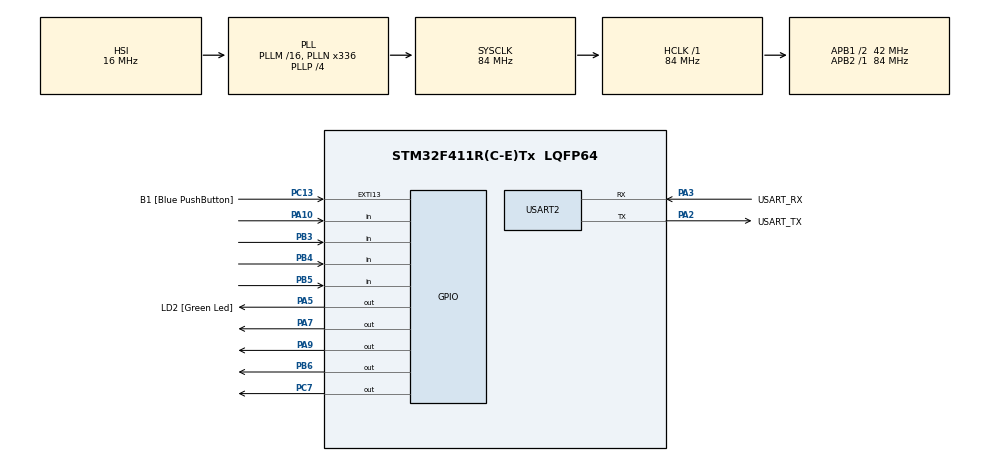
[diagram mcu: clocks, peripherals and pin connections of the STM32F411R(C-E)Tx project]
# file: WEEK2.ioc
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Mcu.Family=STM32F4
Mcu.Name=STM32F411R(C-E)Tx
Mcu.Package=LQFP64
NVIC.PriorityGroup=NVIC_PRIORITYGROUP_0
PA10.GPIO_PuPd=GPIO_PULLUP
PA10.Signal=GPIO_Input
PA13.GPIO_Label=TMS
PA13.Mode=Serial_Wire
PA13.Signal=SYS_JTMS-SWDIO
PA14.GPIO_Label=TCK
PA14.Mode=Serial_Wire
PA14.Signal=SYS_JTCK-SWCLK
PA2.GPIO_Label=USART_TX
PA2.Mode=Asynchronous
PA2.Signal=USART2_TX
PA3.GPIO_Label=USART_RX
PA3.Mode=Asynchronous
PA3.Signal=USART2_RX
PA5.GPIO_Label=LD2 [Green Led]
PA5.PinState=GPIO_PIN_RESET
PA5.Signal=GPIO_Output
PA7.GPIO_ModeDefaultOutputPP=GPIO_MODE_OUTPUT_OD
PA7.GPIO_Speed=GPIO_SPEED_FREQ_LOW
PA7.PinState=GPIO_PIN_SET
PA7.Signal=GPIO_Output
PA9.GPIO_ModeDefaultOutputPP=GPIO_MODE_OUTPUT_OD
PA9.GPIO_Speed=GPIO_SPEED_FREQ_LOW
PA9.PinState=GPIO_PIN_SET
PA9.Signal=GPIO_Output
PB3.GPIO_PuPd=GPIO_PULLUP
PB3.Signal=GPIO_Input
PB4.GPIO_PuPd=GPIO_PULLUP
PB4.Signal=GPIO_Input
PB5.GPIO_PuPd=GPIO_PULLUP
PB5.Signal=GPIO_Input
PB6.GPIO_ModeDefaultOutputPP=GPIO_MODE_OUTPUT_OD
PB6.GPIO_Speed=GPIO_SPEED_FREQ_LOW
PB6.PinState=GPIO_PIN_SET
PB6.Signal=GPIO_Output
PC13-ANTI_TAMP.GPIO_Label=B1 [Blue PushButton]
PC13-ANTI_TAMP.GPIO_ModeDefaultEXTI=GPIO_MODE_IT_FALLING
PC13-ANTI_TAMP.Signal=GPXTI13
PC14-OSC32_IN.Mode=LSE-External-Oscillator
PC14-OSC32_IN.Signal=RCC_OSC32_IN
PC15-OSC32_OUT.Mode=LSE-External-Oscillator
PC15-OSC32_OUT.Signal=RCC_OSC32_OUT
PC7.GPIO_Speed=GPIO_SPEED_FREQ_LOW
PC7.PinState=GPIO_PIN_SET
PC7.Signal=GPIO_Output
PH0\ -\ OSC_IN.Mode=HSE-External-Clock-Source
PH0\ -\ OSC_IN.Signal=RCC_OSC_IN
PH1\ -\ OSC_OUT.Mode=HSE-External-Clock-Source
PH1\ -\ OSC_OUT.Signal=RCC_OSC_OUT
ProjectManager.HeapSize=0x200
ProjectManager.StackSize=0x400
ProjectManager.TargetToolchain=STM32CubeIDE
RCC.48MHZClocksFreq_Value=84000000
RCC.AHBFreq_Value=84000000
RCC.APB1CLKDivider=RCC_HCLK_DIV2
RCC.APB1Freq_Value=42000000
RCC.APB1TimFreq_Value=84000000
RCC.APB2Freq_Value=84000000
RCC.APB2TimFreq_Value=84000000
RCC.CortexFreq_Value=84000000
RCC.FLatency-AdvancedSettings=FLASH_LATENCY_2
RCC.HCLKFreq_Value=84000000
RCC.HSE_VALUE=8000000
RCC.HSI_VALUE=16000000
RCC.PLLN=336
RCC.PLLP=RCC_PLLP_DIV4
RCC.SYSCLKFreq_VALUE=84000000
RCC.SYSCLKSource=RCC_SYSCLKSOURCE_PLLCLK
RCC.VCOOutputFreq_Value=336000000
USART2.VirtualMode=VM_ASYNC
board=NUCLEO-F411RE

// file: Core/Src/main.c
/* USER CODE BEGIN Header */
/**
 ******************************************************************************
 * @file           : main.c
 * @brief          : Main program body
 ******************************************************************************
 * @attention
 *
 * <h2><center>&copy; Copyright (c) 2021 STMicroelectronics.
 * All rights reserved.</center></h2>
 *
 * This software component is licensed by ST under BSD 3-Clause license,
 * the "License"; You may not use this file except in compliance with the
 * License. You may obtain a copy of the License at:
 *                        opensource.org/licenses/BSD-3-Clause
 *
 ******************************************************************************
 */
/* USER CODE END Header */
#include "main.h"

UART_HandleTypeDef huart2;

/* USER CODE BEGIN PV */
//save status of Button Matrix
uint16_t ThisPassWord[11] = { 0 };
uint16_t ButtonMatrixState = 0;
uint32_t timestamp = 0;
uint32_t timestamp2 = 0;
uint8_t num = 0;
//Button TimeStamp
uint32_t ButtonMatrixTimeStamp = 0;
/* USER CODE END PV */

void SystemClock_Config(void);
static void MX_GPIO_Init(void);
static void MX_USART2_UART_Init(void);
/* USER CODE BEGIN PFP */
//scan and update data of Button Matrix
void ButtonMatrixUpdate();
/* USER CODE END PFP */

int main(void)
{

  /* MCU Configuration--------------------------------------------------------*/

  /* Reset of all peripherals, Initializes the Flash interface and the Systick. */
  HAL_Init();

  /* Configure the system clock */
  SystemClock_Config();

  /* Initialize all configured peripherals */
  MX_GPIO_Init();
  MX_USART2_UART_Init();

  /* Infinite loop */
	while (1) {

    /* USER CODE BEGIN 3 */
		ButtonMatrixUpdate();
		if (num >= 0 && num <= 11) {
			if (HAL_GetTick() - timestamp >= 300) {
				if (ButtonMatrixState == 1) {
					ThisPassWord[num] = 7;
					num = num + 1;
					timestamp = HAL_GetTick();
				} else if (ButtonMatrixState == 2) {
					ThisPassWord[num] = 8;
					num = num + 1;
					timestamp = HAL_GetTick();
				} else if (ButtonMatrixState == 4) {
					ThisPassWord[num] = 9;
					num = num + 1;
					timestamp = HAL_GetTick();
				} else if (ButtonMatrixState == 16) {
					ThisPassWord[num] = 4;
					num = num + 1;
					timestamp = HAL_GetTick();
				} else if (ButtonMatrixState == 32) {
					ThisPassWord[num] = 5;
					num = num + 1;
					timestamp = HAL_GetTick();
				} else if (ButtonMatrixState == 64) {
					ThisPassWord[num] = 6;
					num = num + 1;
					timestamp = HAL_GetTick();
				} else if (ButtonMatrixState == 256) {
					ThisPassWord[num] = 1;
					num = num + 1;
					timestamp = HAL_GetTick();
				} else if (ButtonMatrixState == 512) {
					ThisPassWord[num] = 2;
					num = num + 1;
					timestamp = HAL_GetTick();
				} else if (ButtonMatrixState == 1024) {
					ThisPassWord[num] = 3;
					num = num + 1;
					timestamp = HAL_GetTick();
				} else if (ButtonMatrixState == 4096) {
					ThisPassWord[num] = 0;
					num = num + 1;
					timestamp = HAL_GetTick();
				}else if (ButtonMatrixState == 128 && num>0) {
					ThisPassWord[num-1] = 0;
					num = num - 1;
					timestamp = HAL_GetTick();
				}
			}
		}
		if (HAL_GetTick() - timestamp2 >= 300) {
			if (ButtonMatrixState == 8) {
				int j;
				for (j = 0; j < 11; j++) {
					ThisPassWord[j] = 0;
				}
				num = 0;
				timestamp2 = HAL_GetTick();
				HAL_GPIO_WritePin(GPIOA, GPIO_PIN_5, GPIO_PIN_RESET);
			}

			if (ButtonMatrixState == 32768) {
				if (ThisPassWord[0] == 6 && ThisPassWord[1] == 2
						&& ThisPassWord[2] == 3 && ThisPassWord[3] == 4
						&& ThisPassWord[4] == 0 && ThisPassWord[5] == 5
						&& ThisPassWord[6] == 0 && ThisPassWord[7] == 0
						&& ThisPassWord[8] == 0 && ThisPassWord[9] == 3
						&& ThisPassWord[10] == 0) {

					HAL_GPIO_WritePin(GPIOA, GPIO_PIN_5, GPIO_PIN_SET);
					timestamp2 = HAL_GetTick();
				}
			}
		}
	}
	//function button

  /* USER CODE END 3 */
}

void SystemClock_Config(void)
{
  RCC_OscInitTypeDef RCC_OscInitStruct = {0};
  RCC_ClkInitTypeDef RCC_ClkInitStruct = {0};

  /** Configure the main internal regulator output voltage
  */
  __HAL_RCC_PWR_CLK_ENABLE();
  __HAL_PWR_VOLTAGESCALING_CONFIG(PWR_REGULATOR_VOLTAGE_SCALE1);
  /** Initializes the RCC Oscillators according to the specified parameters
  * in the RCC_OscInitTypeDef structure.
  */
  RCC_OscInitStruct.OscillatorType = RCC_OSCILLATORTYPE_HSI;
  RCC_OscInitStruct.HSIState = RCC_HSI_ON;
  RCC_OscInitStruct.HSICalibrationValue = RCC_HSICALIBRATION_DEFAULT;
  RCC_OscInitStruct.PLL.PLLState = RCC_PLL_ON;
  RCC_OscInitStruct.PLL.PLLSource = RCC_PLLSOURCE_HSI;
  RCC_OscInitStruct.PLL.PLLM = 16;
  RCC_OscInitStruct.PLL.PLLN = 336;
  RCC_OscInitStruct.PLL.PLLP = RCC_PLLP_DIV4;
  RCC_OscInitStruct.PLL.PLLQ = 4;
  if (HAL_RCC_OscConfig(&RCC_OscInitStruct) != HAL_OK)
  {
    Error_Handler();
  }
  /** Initializes the CPU, AHB and APB buses clocks
  */
  RCC_ClkInitStruct.ClockType = RCC_CLOCKTYPE_HCLK|RCC_CLOCKTYPE_SYSCLK
                              |RCC_CLOCKTYPE_PCLK1|RCC_CLOCKTYPE_PCLK2;
  RCC_ClkInitStruct.SYSCLKSource = RCC_SYSCLKSOURCE_PLLCLK;
  RCC_ClkInitStruct.AHBCLKDivider = RCC_SYSCLK_DIV1;
  RCC_ClkInitStruct.APB1CLKDivider = RCC_HCLK_DIV2;
  RCC_ClkInitStruct.APB2CLKDivider = RCC_HCLK_DIV1;

  if (HAL_RCC_ClockConfig(&RCC_ClkInitStruct, FLASH_LATENCY_2) != HAL_OK)
  {
    Error_Handler();
  }
}

static void MX_USART2_UART_Init(void)
{

  huart2.Instance = USART2;
  huart2.Init.BaudRate = 115200;
  huart2.Init.WordLength = UART_WORDLENGTH_8B;
  huart2.Init.StopBits = UART_STOPBITS_1;
  huart2.Init.Parity = UART_PARITY_NONE;
  huart2.Init.Mode = UART_MODE_TX_RX;
  huart2.Init.HwFlowCtl = UART_HWCONTROL_NONE;
  huart2.Init.OverSampling = UART_OVERSAMPLING_16;
  if (HAL_UART_Init(&huart2) != HAL_OK)
  {
    Error_Handler();
  }

}

static void MX_GPIO_Init(void)
{
  GPIO_InitTypeDef GPIO_InitStruct = {0};

  /* GPIO Ports Clock Enable */
  __HAL_RCC_GPIOC_CLK_ENABLE();
  __HAL_RCC_GPIOH_CLK_ENABLE();
  __HAL_RCC_GPIOA_CLK_ENABLE();
  __HAL_RCC_GPIOB_CLK_ENABLE();

  /*Configure GPIO pin Output Level */
  HAL_GPIO_WritePin(LD2_GPIO_Port, LD2_Pin, GPIO_PIN_RESET);

  /*Configure GPIO pin Output Level */
  HAL_GPIO_WritePin(GPIOA, GPIO_PIN_7|GPIO_PIN_9, GPIO_PIN_SET);

  /*Configure GPIO pin Output Level */
  HAL_GPIO_WritePin(GPIOC, GPIO_PIN_7, GPIO_PIN_SET);

  /*Configure GPIO pin Output Level */
  HAL_GPIO_WritePin(GPIOB, GPIO_PIN_6, GPIO_PIN_SET);

  /*Configure GPIO pin : B1_Pin */
  GPIO_InitStruct.Pin = B1_Pin;
  GPIO_InitStruct.Mode = GPIO_MODE_IT_FALLING;
  GPIO_InitStruct.Pull = GPIO_NOPULL;
  HAL_GPIO_Init(B1_GPIO_Port, &GPIO_InitStruct);

  /*Configure GPIO pin : LD2_Pin */
  GPIO_InitStruct.Pin = LD2_Pin;
  GPIO_InitStruct.Mode = GPIO_MODE_OUTPUT_PP;
  GPIO_InitStruct.Pull = GPIO_NOPULL;
  GPIO_InitStruct.Speed = GPIO_SPEED_FREQ_LOW;
  HAL_GPIO_Init(LD2_GPIO_Port, &GPIO_InitStruct);

  /*Configure GPIO pins : PA7 PA9 */
  GPIO_InitStruct.Pin = GPIO_PIN_7|GPIO_PIN_9;
  GPIO_InitStruct.Mode = GPIO_MODE_OUTPUT_OD;
  GPIO_InitStruct.Pull = GPIO_NOPULL;
  GPIO_InitStruct.Speed = GPIO_SPEED_FREQ_LOW;
  HAL_GPIO_Init(GPIOA, &GPIO_InitStruct);

  /*Configure GPIO pin : PC7 */
  GPIO_InitStruct.Pin = GPIO_PIN_7;
  GPIO_InitStruct.Mode = GPIO_MODE_OUTPUT_PP;
  GPIO_InitStruct.Pull = GPIO_NOPULL;
  GPIO_InitStruct.Speed = GPIO_SPEED_FREQ_LOW;
  HAL_GPIO_Init(GPIOC, &GPIO_InitStruct);

  /*Configure GPIO pin : PA10 */
  GPIO_InitStruct.Pin = GPIO_PIN_10;
  GPIO_InitStruct.Mode = GPIO_MODE_INPUT;
  GPIO_InitStruct.Pull = GPIO_PULLUP;
  HAL_GPIO_Init(GPIOA, &GPIO_InitStruct);

  /*Configure GPIO pins : PB3 PB4 PB5 */
  GPIO_InitStruct.Pin = GPIO_PIN_3|GPIO_PIN_4|GPIO_PIN_5;
  GPIO_InitStruct.Mode = GPIO_MODE_INPUT;
  GPIO_InitStruct.Pull = GPIO_PULLUP;
  HAL_GPIO_Init(GPIOB, &GPIO_InitStruct);

  /*Configure GPIO pin : PB6 */
  GPIO_InitStruct.Pin = GPIO_PIN_6;
  GPIO_InitStruct.Mode = GPIO_MODE_OUTPUT_OD;
  GPIO_InitStruct.Pull = GPIO_NOPULL;
  GPIO_InitStruct.Speed = GPIO_SPEED_FREQ_LOW;
  HAL_GPIO_Init(GPIOB, &GPIO_InitStruct);

}

/* USER CODE BEGIN 4 */
GPIO_TypeDef *ButtonMatrixPort[8] = { GPIOA, GPIOB, GPIOB, GPIOB, GPIOA, GPIOC,
GPIOB, GPIOA };
uint16_t ButtonMatrixPin[8] = { GPIO_PIN_10, GPIO_PIN_3, GPIO_PIN_5, GPIO_PIN_4,
GPIO_PIN_9, GPIO_PIN_7, GPIO_PIN_6, GPIO_PIN_7 };
uint8_t ButtonMatrixRow = 0;
void ButtonMatrixUpdate() {
	if (HAL_GetTick() - ButtonMatrixTimeStamp >= 50) {
		int i;
		for (i = 0; i < 4; i++) {
			GPIO_PinState PinState = HAL_GPIO_ReadPin(ButtonMatrixPort[i],
					ButtonMatrixPin[i]);
			if (PinState == GPIO_PIN_RESET) {
				ButtonMatrixState |= (uint16_t) 0x1
						<< (i + ButtonMatrixRow * 4);
			} else {
				ButtonMatrixState &= ~((uint16_t) 0x1
						<< (i + ButtonMatrixRow * 4));

			}
		}
		uint8_t NowOutputPin = ButtonMatrixRow + 4;
		HAL_GPIO_WritePin(ButtonMatrixPort[NowOutputPin],
				ButtonMatrixPin[NowOutputPin], GPIO_PIN_SET);

		ButtonMatrixRow = (ButtonMatrixRow + 1) % 4;

		uint8_t NextOutputPin = ButtonMatrixRow + 4;

		HAL_GPIO_WritePin(ButtonMatrixPort[NextOutputPin],
				ButtonMatrixPin[NextOutputPin], GPIO_PIN_RESET);
		ButtonMatrixTimeStamp = HAL_GetTick();
	}
}
/* USER CODE END 4 */

void Error_Handler(void)
{
	__disable_irq();
	while (1) {
	}
}

/************************ (C) COPYRIGHT STMicroelectronics *****END OF FILE****/
